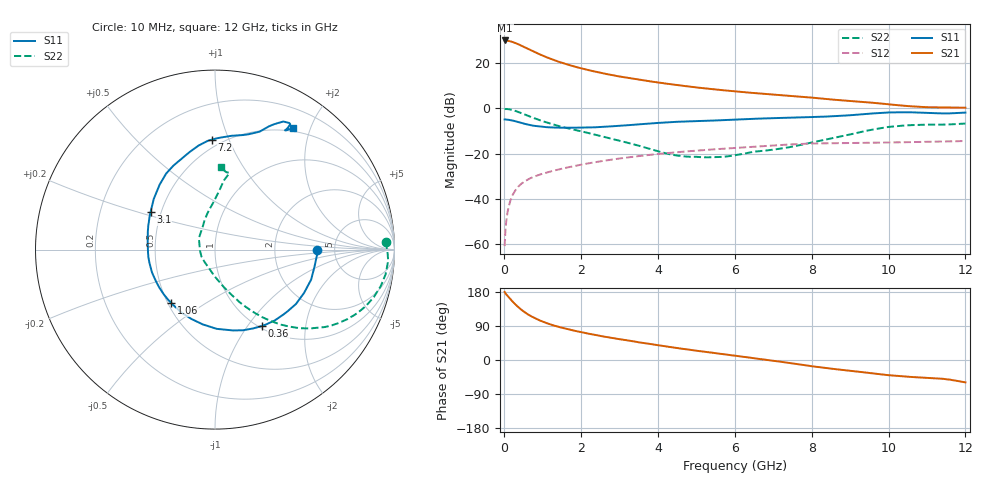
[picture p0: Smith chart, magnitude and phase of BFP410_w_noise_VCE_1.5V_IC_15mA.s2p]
! Infineon Technologies  Discrete & RF Semiconductors
! BFP410
! VCE =  1.5 V,  IC =  15 mA
! Common Emitter S-Parameters:  Nov 2015
# GHz  S  MA  R  50
!  f  S11  S21  S12  S22
! GHz  MAG  ANG  MAG  ANG  MAG  ANG  MAG  ANG
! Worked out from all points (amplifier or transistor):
!   243 points, 10 MHz to 12 GHz, reference 50 ohm
!   highest |S21| = 30.0 dB at 20 MHz (marker M1)
!   |S21| within 3 dB of that: start of sweep to 528.9 MHz
!   unconditionally stable (mu >= 1): 2.016 GHz to end of sweep
!   at 240 MHz: K = 0.23, MSG = 33.4 dB, |S12| = -37.7 dB
!   at 1.84 GHz: K = 0.96, MSG = 21.9 dB, |S12| = -25.4 dB
!   at 12 GHz: K = 1.02, MAG = 6.4 dB, |S12| = -14.4 dB
!   lowest NFmin = 1.50 dB at 900 MHz
!   S11 on the Smith chart (normalised r, x): 10 MHz: 3.63, -0.02; 360 MHz: 1.03, -1.17; 1.06 GHz: 0.52, -0.36; 3.1 GHz: 0.44, +0.22; 7.2 GHz: 0.44, +0.87; 12 GHz: 0.45, +1.74
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0.01  0.5678 -0.2  31.33 179.5  0.0009 105.4  0.9531 2.6
0.02  0.569 -3.1  31.51 177.2  0.0014 91.8  0.9611 -0.7
0.1  0.5612 -17.3  30.95 167.8  0.0058 83.3  0.9604 -8.3
0.2  0.5432 -34.0  29.5 156.2  0.0112 77.0  0.9237 -16.6
0.3  0.5165 -49.8  27.45 145.7  0.0159 71.2  0.8695 -23.9
0.36  0.4995 -58.4  26.1 140.1  0.0184 68.4  0.8335 -27.7
0.5  0.4622 -77.1  22.95 128.4  0.0234 63.5  0.7485 -35.2
0.6  0.4418 -88.7  20.84 121.3  0.0263 60.9  0.6918 -39.4
0.7  0.4222 -99.4  18.97 115.4  0.029 58.9  0.641 -43.1
0.9  0.3981 -117.5  15.85 105.4  0.0337 56.3  0.5555 -48.8
1.06  0.3844 -129.6  13.87 99.1  0.0372 55.1  0.4996 -52.3
1.26  0.3768 -142.6  11.92 92.1  0.0414 53.8  0.4432 -56.0
1.46  0.3728 -153.4  10.38 86.3  0.0455 53.0  0.3976 -59.2
2.02  0.3736 -177.4  7.571 73.1  0.0573 50.2  0.3074 -66.1
2.6  0.3911 162.9  5.847 61.7  0.0694 46.5  0.2331 -74.0
3.1  0.4158 149.6  4.885 53.5  0.0798 43.0  0.1828 -82.2
4.1  0.4802 128.9  3.618 37.5  0.0999 35.2  0.1067 -109.7
6.1  0.5662 103.4  2.326 10.1  0.1347 18.5  0.0946 157.5
7.2  0.6123 91.7  1.951 -4.7  0.1546 8.4  0.1291 126.3
8.2  0.6483 78.9  1.657 -18.8  0.1675 -2.7  0.1904 105.3
10.2  0.8132 60.7  1.18 -41.7  0.1766 -18.8  0.4017 81.6
12  0.8033 57.4  1.03 -59.0  0.1898 -33.6  0.46 85.5
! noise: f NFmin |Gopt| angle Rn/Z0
0.45  1.52  0.06  -134  0.19
0.9  1.5  0.07  -151  0.16
1.8  1.61  0.12  -142  0.16
2.4  1.64  0.18  -123  0.21
5.5  2.49  0.39  -106  0.35
10  3.6  0.69  -47  2.16
